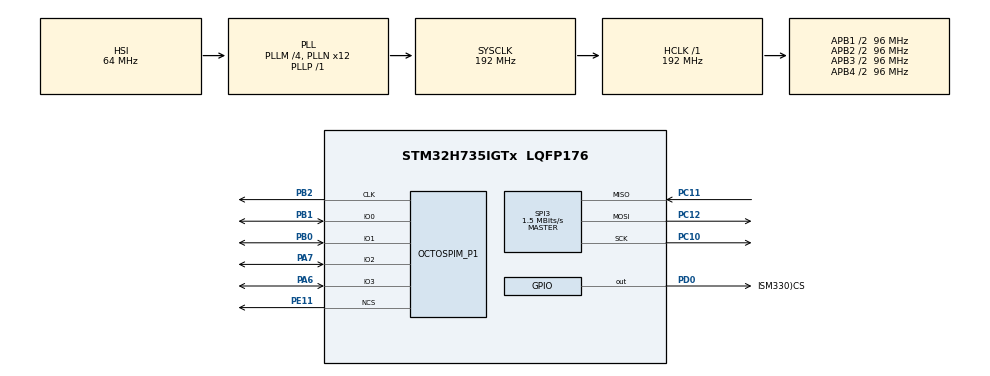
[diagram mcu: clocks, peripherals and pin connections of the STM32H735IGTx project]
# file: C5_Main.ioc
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CORTEX_M7.AccessPermission_S-Cortex_Memory_Protection_Unit_Region1_Settings_S=MPU_REGION_FULL_ACCESS
CORTEX_M7.BaseAddress_S-Cortex_Memory_Protection_Unit_Region1_Settings_S=0x90000000
CORTEX_M7.DisableExec_S-Cortex_Memory_Protection_Unit_Region1_Settings_S=MPU_INSTRUCTION_ACCESS_DISABLE
CORTEX_M7.Enable_S-Cortex_Memory_Protection_Unit_Region1_Settings_S=MPU_REGION_ENABLE
CORTEX_M7.Size_S-Cortex_Memory_Protection_Unit_Region1_Settings_S=MPU_REGION_SIZE_8MB
CORTEX_M7.default_mode_Activation=1
Mcu.Family=STM32H7
Mcu.Name=STM32H735IGTx
Mcu.Package=LQFP176
NVIC.PriorityGroup=NVIC_PRIORITYGROUP_4
OCTOSPI1.ChipSelectHighTime=2
OCTOSPI1.ClockPrescaler=255
OCTOSPI1.DeviceSize=23
OCTOSPI1.MemoryType=HAL_OSPI_MEMTYPE_MACRONIX_RAM
PA6.Mode=OCTOSPI1_IOL_Port1L
PA6.Signal=OCTOSPIM_P1_IO3
PA7.Mode=OCTOSPI1_IOL_Port1L
PA7.Signal=OCTOSPIM_P1_IO2
PB0.Mode=OCTOSPI1_IOL_Port1L
PB0.Signal=OCTOSPIM_P1_IO1
PB1.Mode=OCTOSPI1_IOL_Port1L
PB1.Signal=OCTOSPIM_P1_IO0
PB2.Mode=O1_P1_CLK
PB2.Signal=OCTOSPIM_P1_CLK
PC10.Mode=Full_Duplex_Master
PC10.Signal=SPI3_SCK
PC11.Mode=Full_Duplex_Master
PC11.Signal=SPI3_MISO
PC12.Mode=Full_Duplex_Master
PC12.Signal=SPI3_MOSI
PD0.GPIO_Label=ISM330)CS
PD0.GPIO_Speed=GPIO_SPEED_FREQ_VERY_HIGH
PD0.PinState=GPIO_PIN_SET
PD0.Signal=GPIO_Output
PE11.Mode=OCTOSPI1_Port1_NCS
PE11.Signal=OCTOSPIM_P1_NCS
PH0-OSC_IN.Mode=HSE-External-Oscillator
PH0-OSC_IN.Signal=RCC_OSC_IN
PH1-OSC_OUT.Mode=HSE-External-Oscillator
PH1-OSC_OUT.Signal=RCC_OSC_OUT
ProjectManager.HeapSize=0x200
ProjectManager.StackSize=0x400
ProjectManager.TargetToolchain=STM32CubeIDE
RCC.ADCFreq_Value=129000000
RCC.APB1Freq_Value=96000000
RCC.APB2Freq_Value=96000000
RCC.APB3Freq_Value=96000000
RCC.APB4Freq_Value=96000000
RCC.CortexFreq_Value=192000000
RCC.D1PPRE=RCC_APB3_DIV2
RCC.D2PPRE1=RCC_APB1_DIV2
RCC.D2PPRE2=RCC_APB2_DIV2
RCC.D3PPRE=RCC_APB4_DIV2
RCC.DIVM1=4
RCC.DIVN1=12
RCC.DIVP1=1
RCC.HCLKFreq_Value=192000000
RCC.I2C123CLockSelection=RCC_I2C1235CLKSOURCE_CSI
RCC.PLL2FRACN=0
RCC.PLL3FRACN=0
RCC.PLLFRACN=0
RCC.SYSCLKFreq_VALUE=192000000
RCC.SYSCLKSource=RCC_SYSCLKSOURCE_PLLCLK
RCC.USBFreq_Value=96000000
SPI3.BaudRatePrescaler=SPI_BAUDRATEPRESCALER_64
SPI3.CalculateBaudRate=1.5 MBits/s
SPI3.DataSize=SPI_DATASIZE_8BIT
SPI3.Direction=SPI_DIRECTION_2LINES
SPI3.Mode=SPI_MODE_MASTER
SPI3.VirtualType=VM_MASTER
VP_MEMORYMAP_VS_MEMORYMAP.Mode=CurAppReg
VP_OCTOSPI1_VS_quad.Mode=quad_mode
board=custom

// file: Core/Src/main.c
/* USER CODE BEGIN Header */
/**
 ******************************************************************************
 * @file           : main.c
 * @brief          : Main program body
 ******************************************************************************
 * @attention
 *
 * Copyright (c) 2024 STMicroelectronics.
 * All rights reserved.
 *
 * This software is licensed under terms that can be found in the LICENSE file
 * in the root directory of this software component.
 * If no LICENSE file comes with this software, it is provided AS-IS.
 *
 ******************************************************************************
 */
/* USER CODE END Header */
#include "main.h"
#include "memorymap.h"
#include "octospi.h"
#include "spi.h"
#include "gpio.h"

/* USER CODE BEGIN Includes */
#include "APSXX04L.h"
#include "ExtMemUseInit.h"
#include "ISM330ISN.h"
/* USER CODE END Includes */

void SystemClock_Config(void);
static void MPU_Config(void);

/* USER CODE BEGIN 0 */
ISM_TypeDef EXT_RAM_BSS Ism;
/* USER CODE END 0 */

int main(void)
{

  /* MPU Configuration--------------------------------------------------------*/
  MPU_Config();

  /* MCU Configuration--------------------------------------------------------*/

  /* Reset of all peripherals, Initializes the Flash interface and the Systick. */
  HAL_Init();

  /* Configure the system clock */
  SystemClock_Config();

  /* USER CODE BEGIN SysInit */
   HAL_OSPI_Abort(&hospi1);
   HAL_OSPI_DeInit(&hospi1);
  /* USER CODE END SysInit */

  /* Initialize all configured peripherals */
  MX_GPIO_Init();
 // MX_OCTOSPI1_Init();
  MX_SPI3_Init();
  /* USER CODE BEGIN 2 */
   ISM330ISN_Init();
  /* USER CODE END 2 */

  /* Infinite loop */
  /* USER CODE BEGIN WHILE */
   while(1)
   {
      ISM330ISN_Hanler(&Ism);
    /* USER CODE END WHILE */

   }
}

void SystemClock_Config(void)
{
  RCC_OscInitTypeDef RCC_OscInitStruct = {0};
  RCC_ClkInitTypeDef RCC_ClkInitStruct = {0};

  /** Supply configuration update enable
  */
  HAL_PWREx_ConfigSupply(PWR_DIRECT_SMPS_SUPPLY);

  /** Configure the main internal regulator output voltage
  */
  __HAL_PWR_VOLTAGESCALING_CONFIG(PWR_REGULATOR_VOLTAGE_SCALE1);

  while(!__HAL_PWR_GET_FLAG(PWR_FLAG_VOSRDY)) {}

  /** Initializes the RCC Oscillators according to the specified parameters
  * in the RCC_OscInitTypeDef structure.
  */
  RCC_OscInitStruct.OscillatorType = RCC_OSCILLATORTYPE_HSI;
  RCC_OscInitStruct.HSIState = RCC_HSI_DIV1;
  RCC_OscInitStruct.HSICalibrationValue = 64;
  RCC_OscInitStruct.PLL.PLLState = RCC_PLL_ON;
  RCC_OscInitStruct.PLL.PLLSource = RCC_PLLSOURCE_HSI;
  RCC_OscInitStruct.PLL.PLLM = 4;
  RCC_OscInitStruct.PLL.PLLN = 12;
  RCC_OscInitStruct.PLL.PLLP = 1;
  RCC_OscInitStruct.PLL.PLLQ = 2;
  RCC_OscInitStruct.PLL.PLLR = 2;
  RCC_OscInitStruct.PLL.PLLRGE = RCC_PLL1VCIRANGE_3;
  RCC_OscInitStruct.PLL.PLLVCOSEL = RCC_PLL1VCOWIDE;
  RCC_OscInitStruct.PLL.PLLFRACN = 0;
  if (HAL_RCC_OscConfig(&RCC_OscInitStruct) != HAL_OK)
  {
    Error_Handler();
  }

  /** Initializes the CPU, AHB and APB buses clocks
  */
  RCC_ClkInitStruct.ClockType = RCC_CLOCKTYPE_HCLK|RCC_CLOCKTYPE_SYSCLK
                              |RCC_CLOCKTYPE_PCLK1|RCC_CLOCKTYPE_PCLK2
                              |RCC_CLOCKTYPE_D3PCLK1|RCC_CLOCKTYPE_D1PCLK1;
  RCC_ClkInitStruct.SYSCLKSource = RCC_SYSCLKSOURCE_PLLCLK;
  RCC_ClkInitStruct.SYSCLKDivider = RCC_SYSCLK_DIV1;
  RCC_ClkInitStruct.AHBCLKDivider = RCC_HCLK_DIV1;
  RCC_ClkInitStruct.APB3CLKDivider = RCC_APB3_DIV2;
  RCC_ClkInitStruct.APB1CLKDivider = RCC_APB1_DIV2;
  RCC_ClkInitStruct.APB2CLKDivider = RCC_APB2_DIV2;
  RCC_ClkInitStruct.APB4CLKDivider = RCC_APB4_DIV2;

  if (HAL_RCC_ClockConfig(&RCC_ClkInitStruct, FLASH_LATENCY_2) != HAL_OK)
  {
    Error_Handler();
  }
}

/* USER CODE BEGIN 4 */
void ISM_Write(uint8_t *Data, uint8_t Size)
{
   HAL_SPI_Transmit(&hspi3, Data, Size, 1000);
}
void ISM_Receive(uint8_t *Data, uint8_t Size)
{
   HAL_SPI_Receive(&hspi3, Data, Size, 1000);
}
void ISM_TransmitReceive(uint8_t *DataOut, uint8_t *DataIn, uint8_t Size)
{
   HAL_SPI_TransmitReceive(&hspi3, DataOut, DataIn, Size, 1000);
}
void ISM_CS_High(void)
{
   HAL_GPIO_WritePin(ISM330_CS_GPIO_Port, ISM330_CS_Pin, 1);
}
void ISM_CS_Low(void)
{
   HAL_GPIO_WritePin(ISM330_CS_GPIO_Port, ISM330_CS_Pin, 0);
}
/* USER CODE END 4 */

 /* MPU Configuration */

void MPU_Config(void)
{
  MPU_Region_InitTypeDef MPU_InitStruct = {0};

  /* Disables the MPU */
  HAL_MPU_Disable();

  /** Initializes and configures the Region and the memory to be protected
  */
  MPU_InitStruct.Enable = MPU_REGION_ENABLE;
  MPU_InitStruct.Number = MPU_REGION_NUMBER0;
  MPU_InitStruct.BaseAddress = 0x0;
  MPU_InitStruct.Size = MPU_REGION_SIZE_4GB;
  MPU_InitStruct.SubRegionDisable = 0x87;
  MPU_InitStruct.TypeExtField = MPU_TEX_LEVEL0;
  MPU_InitStruct.AccessPermission = MPU_REGION_NO_ACCESS;
  MPU_InitStruct.DisableExec = MPU_INSTRUCTION_ACCESS_DISABLE;
  MPU_InitStruct.IsShareable = MPU_ACCESS_SHAREABLE;
  MPU_InitStruct.IsCacheable = MPU_ACCESS_NOT_CACHEABLE;
  MPU_InitStruct.IsBufferable = MPU_ACCESS_NOT_BUFFERABLE;

  HAL_MPU_ConfigRegion(&MPU_InitStruct);

  /** Initializes and configures the Region and the memory to be protected
  */
  MPU_InitStruct.Number = MPU_REGION_NUMBER1;
  MPU_InitStruct.BaseAddress = 0x90000000;
  MPU_InitStruct.Size = MPU_REGION_SIZE_8MB;
  MPU_InitStruct.SubRegionDisable = 0x0;
  MPU_InitStruct.AccessPermission = MPU_REGION_FULL_ACCESS;
  MPU_InitStruct.IsShareable = MPU_ACCESS_NOT_SHAREABLE;

  HAL_MPU_ConfigRegion(&MPU_InitStruct);
  /* Enables the MPU */
  HAL_MPU_Enable(MPU_PRIVILEGED_DEFAULT);

}

void Error_Handler(void)
{
   __disable_irq();
   while(1)
   {
   }
}

#ifdef  USE_FULL_ASSERT
/**
  * @brief  Reports the name of the source file and the source line number
  *         where the assert_param error has occurred.
  * @param  file: pointer to the source file name
  * @param  line: assert_param error line source number
  * @retval None
  */
void assert_failed(uint8_t *file, uint32_t line)
{
  /* USER CODE BEGIN 6 */
   /* User can add his own implementation to report the file name and line
      number, ex: printf("Wrong parameters value: file %s on line %d\r\n", file,
      line) */
  /* USER CODE END 6 */
}
#endif /* USE_FULL_ASSERT */
